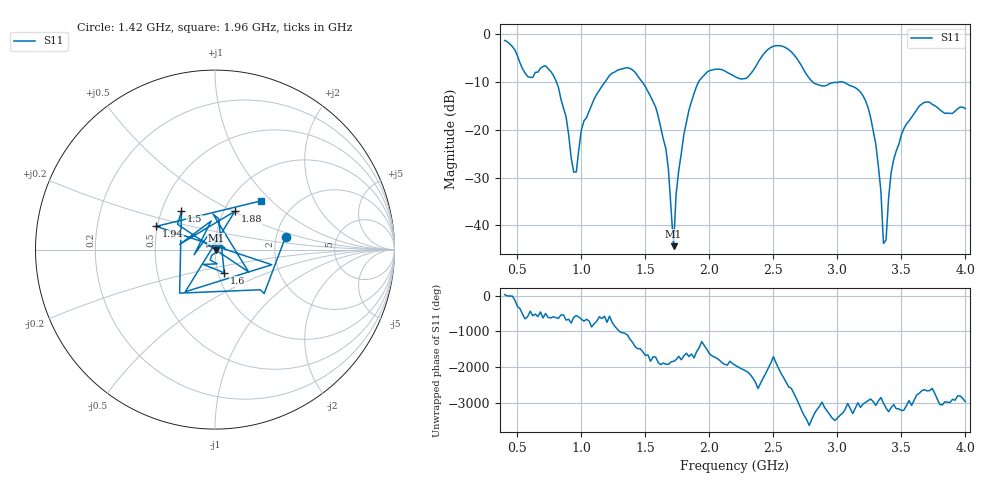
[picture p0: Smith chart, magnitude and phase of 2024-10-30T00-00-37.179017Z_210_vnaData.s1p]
!Created with skrf (http://scikit-rf.org).
# Hz S RI R 50.0
!freq ReS11 ImS11
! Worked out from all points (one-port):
!   181 points, 400 MHz to 4 GHz, reference 50 ohm
!   lowest |S11| = -44.3 dB at 1.72 GHz (marker M1), VSWR 1.01, Z = 50.5 - j0.35 ohm
!   |S11| at or under -10 dB: 805.6 MHz to 1.183 GHz (377.7 MHz wide, 38 % of centre); 1.477 GHz to 1.915 GHz (437.7 MHz wide, 25.8 % of centre); 3.047 GHz to end of sweep (the widest 3 of 4)
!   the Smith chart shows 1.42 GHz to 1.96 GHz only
!   S11 on the Smith chart (normalised r, x): 1.42 GHz: 2.25, +0.39; 1.5 GHz: 0.63, +0.29; 1.6 GHz: 1.07, -0.28; 1.88 GHz: 1.13, +0.51; 1.94 GHz: 0.49, +0.15; 1.96 GHz: 1.38, +0.87
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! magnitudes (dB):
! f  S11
! 400 MHz  -1.3
! 580 MHz  -8.8
! 760 MHz  -7.7
! 860 MHz  -15.4
! 960 MHz  -28.8
! 1.02 GHz  -18.1
! 1.3 GHz  -7.3
! 1.42 GHz  -7.9
! 1.5 GHz  -11.0
! 1.6 GHz  -17.1
! 1.68 GHz  -28.3
! 1.72 GHz  -44.3
! 1.76 GHz  -28.6
! 1.88 GHz  -12.4
! 1.94 GHz  -9.1
! 1.96 GHz  -8.5
! 2.2 GHz  -8.8
! 2.5 GHz  -2.5
! 2.66 GHz  -4.2
! 2.82 GHz  -10.2
! 3.1 GHz  -10.7
! 3.26 GHz  -17.4
! 3.32 GHz  -27.6
! 3.36 GHz  -43.8
! 3.38 GHz  -43.1
! 3.44 GHz  -26.2
! 3.56 GHz  -18.1
! 4 GHz  -15.5
